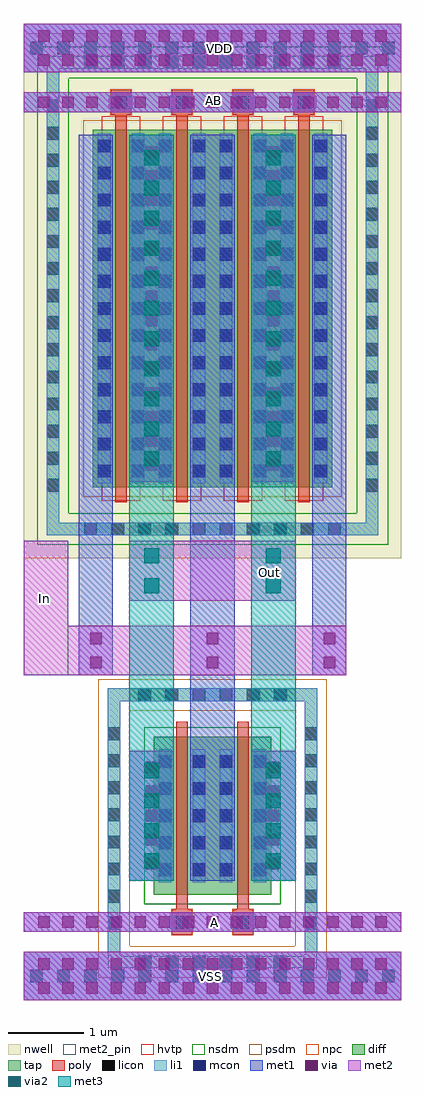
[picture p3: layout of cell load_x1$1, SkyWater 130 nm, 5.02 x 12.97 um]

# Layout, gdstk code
from math import pi, radians
import gdstk
lib = gdstk.Library(unit=1e-6, precision=1e-09)
def R(c, l, rs):  # rectangles x0, y0, x1, y1
    for r in rs: c.add(gdstk.rectangle(r[:2], r[2:], *l))
def A(c, l, x, y, w, h, nx, ny, dx, dy):  # array of equal rectangles
    R(c, l, [(x+i*dx, y+j*dy, x+i*dx+w, y+j*dy+h) for i in range(nx) for j in range(ny)])
nwell = (64, 20)
diff = (65, 20)
tap = (65, 44)
poly = (66, 20)
licon = (66, 44)
li1 = (67, 20)
mcon = (67, 44)
met1 = (68, 20)
via = (68, 44)
met2_pin = (69, 16)
met2 = (69, 20)
via2 = (69, 44)
met3 = (70, 20)
hvtp = (78, 44)
nsdm = (93, 44)
psdm = (94, 20)
npc = (95, 20)

vias_gen_18 = lib.new_cell('vias_gen$18')
R(vias_gen_18, met2, [(0,0,0.59,0.8)])
R(vias_gen_18, via2, [(0.195,0.1,0.395,0.3), (0.195,0.5,0.395,0.7)])
R(vias_gen_18, met3, [(0,0,0.59,0.8)])

vias_gen_19 = lib.new_cell('vias_gen$19')
R(vias_gen_19, li1, [(0,0,5.02,0.64)])
A(vias_gen_19, mcon, 0.085, 0.235, 0.17, 0.17, 14, 1, 0.36, 0)
R(vias_gen_19, met1, [(0,0,5.02,0.64)])
A(vias_gen_19, via, 0.195, 0.085, 0.15, 0.15, 15, 2, 0.32, 0.32)
R(vias_gen_19, met2, [(0,0,5.02,0.64)])

nfet_3 = lib.new_cell('nfet$3')
R(nfet_3, diff, [(0,0,0.75,2.1)])
R(nfet_3, poly, [(0.24,-0.53,0.51,-0.2), (0.3,-0.2,0.45,2.3)])
A(nfet_3, licon, 0.065, 0.245, 0.17, 0.17, 1, 5, 0, 0.36)
A(nfet_3, licon, 0.515, 0.245, 0.17, 0.17, 1, 5, 0, 0.36)
R(nfet_3, licon, [(0.29,-0.45,0.46,-0.28)])
R(nfet_3, li1, [(0.21,-0.45,0.54,-0.28), (0.065,0.165,0.235,1.935), (0.515,0.165,0.685,1.935)])
A(nfet_3, mcon, 0.065, 0.245, 0.17, 0.17, 1, 5, 0, 0.36)
A(nfet_3, mcon, 0.515, 0.245, 0.17, 0.17, 1, 5, 0, 0.36)
R(nfet_3, mcon, [(0.29,-0.45,0.46,-0.28)])
R(nfet_3, met1, [(0.19,-0.48,0.56,-0.25), (0.035,0.185,0.265,1.915), (0.485,0.185,0.715,1.915)])
R(nfet_3, nsdm, [(-0.125,-0.125,0.875,2.225)])
R(nfet_3, npc, [(0.23,-0.54,0.52,-0.19)])

vias_gen_20 = lib.new_cell('vias_gen$20')
R(vias_gen_20, met1, [(0,0,1.73,0.59)])
A(vias_gen_20, via, 0.15, 0.22, 0.15, 0.15, 5, 1, 0.32, 0)
R(vias_gen_20, met2, [(0,0,1.73,0.59)])
A(vias_gen_20, via2, 0.165, 0.195, 0.2, 0.2, 4, 1, 0.4, 0)
R(vias_gen_20, met3, [(0,0,1.73,0.59)])

vias_gen_21 = lib.new_cell('vias_gen$21')
R(vias_gen_21, met1, [(0,0,0.455,0.66)])
R(vias_gen_21, via, [(0.155,0.095,0.305,0.245), (0.155,0.415,0.305,0.565)])
R(vias_gen_21, met2, [(0,0,0.455,0.66)])

vias_gen_22 = lib.new_cell('vias_gen$22')
R(vias_gen_22, met1, [(0,0,5.02,0.26)])
A(vias_gen_22, via, 0.195, 0.055, 0.15, 0.15, 15, 1, 0.32, 0)
R(vias_gen_22, met2, [(0,0,5.02,0.26)])

vias_gen_23 = lib.new_cell('vias_gen$23')
R(vias_gen_23, met1, [(0,0,0.59,0.66)])
R(vias_gen_23, via, [(0.22,0.095,0.37,0.245), (0.22,0.415,0.37,0.565)])
R(vias_gen_23, met2, [(0,0,0.59,0.66)])

vias_gen_24 = lib.new_cell('vias_gen$24')
R(vias_gen_24, met1, [(0,0,4.61,0.59)])
A(vias_gen_24, via, 0.15, 0.22, 0.15, 0.15, 14, 1, 0.32, 0)
R(vias_gen_24, met2, [(0,0,4.61,0.59)])
A(vias_gen_24, via2, 0.205, 0.195, 0.2, 0.2, 11, 1, 0.4, 0)
R(vias_gen_24, met3, [(0,0,4.61,0.59)])

pfet_4 = lib.new_cell('pfet$4')
R(pfet_4, nwell, [(-0.305,-0.38,1.055,5.47)])
R(pfet_4, diff, [(0,0,0.75,4.75)])
R(pfet_4, poly, [(0.3,-0.2,0.45,4.95), (0.24,4.95,0.51,5.28)])
A(pfet_4, licon, 0.065, 0.13, 0.17, 0.17, 1, 13, 0, 0.36)
A(pfet_4, licon, 0.515, 0.13, 0.17, 0.17, 1, 13, 0, 0.36)
R(pfet_4, licon, [(0.29,5.03,0.46,5.2)])
R(pfet_4, li1, [(0.065,0.05,0.235,4.7), (0.515,0.05,0.685,4.7), (0.21,5.03,0.54,5.2)])
A(pfet_4, mcon, 0.065, 0.13, 0.17, 0.17, 1, 13, 0, 0.36)
A(pfet_4, mcon, 0.515, 0.13, 0.17, 0.17, 1, 13, 0, 0.36)
R(pfet_4, mcon, [(0.29,5.03,0.46,5.2)])
R(pfet_4, met1, [(0.035,0.07,0.265,4.68), (0.485,0.07,0.715,4.68), (0.19,5,0.56,5.23)])
R(pfet_4, hvtp, [(0.12,-0.18,0.63,4.93)])
R(pfet_4, psdm, [(-0.125,-0.125,0.875,4.875)])
R(pfet_4, npc, [(0.23,4.94,0.52,5.29)])

load_x1_1 = lib.new_cell('load_x1$1')
R(load_x1_1, nwell, [(4.425,0.735,8.965,7.715), (8.965,0.735,9.445,7.715)])
A(load_x1_1, diff, 6.095, 1.68, 0.155, 4.75, 3, 1, 0.81, 0)
R(load_x1_1, diff, [(6.905,-3.735,6.965,-1.635)])
R(load_x1_1, tap, [(5.54,-4.715,5.71,-0.995), (5.71,-4.715,8.16,-4.545), (8.16,-4.715,8.33,-0.995), (5.71,-1.165,8.16,-0.995), (4.73,1.04,8.97,1.21), (4.73,1.04,4.9,7.24), (4.9,1.04,8.49,1.21), (8.97,1.04,9.14,7.24), (4.73,7.24,9.14,7.41)])
A(load_x1_1, licon, 5.95, -4.715, 0.17, 0.17, 6, 2, 0.36, 3.55)
A(load_x1_1, licon, 5.54, -4.2, 0.17, 0.17, 1, 8, 0, 0.36)
A(load_x1_1, licon, 8.16, -4.2, 0.17, 0.17, 1, 8, 0, 0.36)
A(load_x1_1, licon, 5.23, 1.04, 0.17, 0.17, 10, 2, 0.36, 6.2)
A(load_x1_1, licon, 4.73, 1.62, 0.17, 0.17, 1, 15, 0, 0.36)
A(load_x1_1, licon, 8.97, 1.62, 0.17, 0.17, 1, 15, 0, 0.36)
R(load_x1_1, li1, [(5.54,-4.715,5.71,-0.995), (5.71,-4.715,8.16,-4.545), (8.16,-4.715,8.33,-0.995), (5.71,-1.165,8.16,-0.995), (4.73,1.04,8.97,1.21), (4.73,1.04,4.9,7.24), (8.97,1.04,9.14,7.24), (4.73,7.24,9.14,7.41)])
A(load_x1_1, met1, 6.06, 1.75, 0.13, 4.61, 3, 1, 0.81, 0)
R(load_x1_1, met1, [(6.87,-3.55,7,-1.82), (6.64,-1.82,7.23,-0.16), (8.26,-0.82,8.715,1.75), (5.155,-0.16,5.61,1.75), (6.64,-0.16,7.23,1.75), (5.155,1.75,5.61,6.36), (8.26,1.75,8.715,6.36)])
R(load_x1_1, met2_pin, [(4.425,-5.135,9.445,-4.495), (4.425,-4.23,9.445,-3.97), (4.425,-0.82,5.015,0.97), (7.45,0.17,8.04,0.97), (4.425,6.665,9.445,6.925), (4.425,7.195,9.445,7.835)])
R(load_x1_1, met2, [(4.425,-5.135,9.445,-4.495), (4.425,-0.82,8.26,-0.16), (4.425,-0.16,5.015,0.97), (5.83,0.17,8.04,0.97), (4.425,7.195,9.445,7.835)])
R(load_x1_1, met3, [(5.83,-2.16,6.42,0.17), (7.45,-2.16,8.04,0.17), (5.83,0.97,6.42,2.09), (7.45,0.97,8.04,2.09)])
R(load_x1_1, nsdm, [(4.605,0.915,9.27,1.335), (4.605,1.335,5.025,7.115), (8.85,1.335,9.27,7.115), (4.605,7.115,9.27,7.535)])
R(load_x1_1, psdm, [(5.415,-4.84,5.835,-0.87), (5.835,-4.84,8.035,-4.42), (8.035,-4.84,8.455,-0.87), (5.835,-1.29,8.035,-0.87)])
load_x1_1.add(gdstk.Reference(vias_gen_18, (5.83,0.17)))
load_x1_1.add(gdstk.Reference(vias_gen_18, (7.45,0.17)))
load_x1_1.add(gdstk.Reference(vias_gen_19, (4.425,-5.135)))
load_x1_1.add(gdstk.Reference(nfet_3, (6.905,-3.735), rotation=pi, x_reflection=True))
load_x1_1.add(gdstk.Reference(nfet_3, (7.715,-3.735), rotation=pi, x_reflection=True))
load_x1_1.add(gdstk.Reference(vias_gen_20, (6.42,-3.55), rotation=pi/2))
load_x1_1.add(gdstk.Reference(vias_gen_20, (8.04,-3.55), rotation=pi/2))
load_x1_1.add(gdstk.Reference(vias_gen_21, (5.155,-0.82)))
load_x1_1.add(gdstk.Reference(vias_gen_22, (4.425,-4.23)))
load_x1_1.add(gdstk.Reference(vias_gen_21, (8.26,-0.82)))
load_x1_1.add(gdstk.Reference(vias_gen_23, (6.64,-0.82)))
load_x1_1.add(gdstk.Reference(vias_gen_24, (8.04,1.75), rotation=pi/2))
load_x1_1.add(gdstk.Reference(vias_gen_19, (4.425,7.195)))
load_x1_1.add(gdstk.Reference(vias_gen_24, (6.42,1.75), rotation=pi/2))
load_x1_1.add(gdstk.Reference(pfet_4, (8.525,1.68), rotation=pi, x_reflection=True))
load_x1_1.add(gdstk.Reference(pfet_4, (7.715,1.68), rotation=pi, x_reflection=True))
load_x1_1.add(gdstk.Reference(pfet_4, (6.905,1.68), rotation=pi, x_reflection=True))
load_x1_1.add(gdstk.Reference(pfet_4, (6.095,1.68), rotation=pi, x_reflection=True))
load_x1_1.add(gdstk.Reference(vias_gen_22, (4.425,6.665)))
load_x1_1.add(gdstk.Label('Out', (7.69,0.54), layer=69, texttype=5))
load_x1_1.add(gdstk.Label('VSS', (6.915,-4.82), layer=69, texttype=5))
load_x1_1.add(gdstk.Label('VDD', (7.03,7.51), layer=69, texttype=5))
load_x1_1.add(gdstk.Label('In', (4.705,0.195), layer=69, texttype=5))
load_x1_1.add(gdstk.Label('A', (6.96,-4.11), layer=69, texttype=5))
load_x1_1.add(gdstk.Label('AB', (6.945,6.82), layer=69, texttype=5))

lib.write_gds('load_x1_1.gds')
